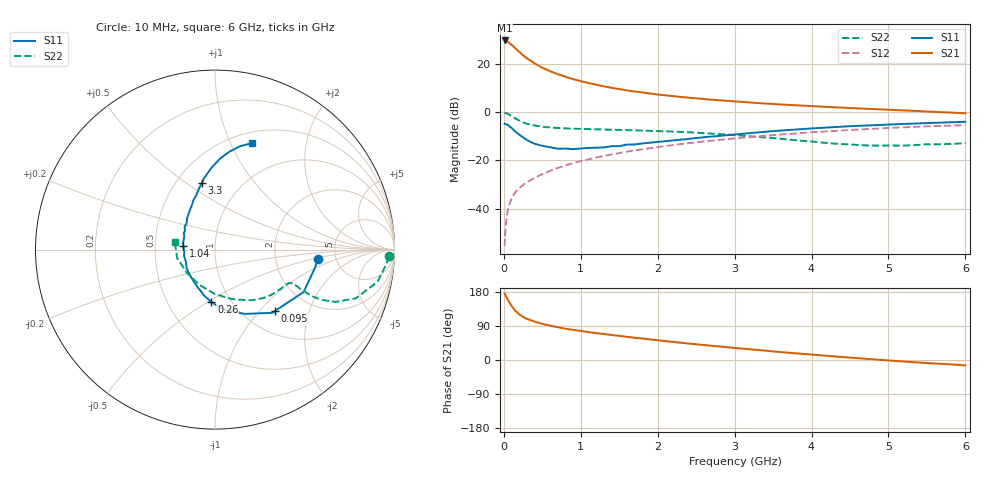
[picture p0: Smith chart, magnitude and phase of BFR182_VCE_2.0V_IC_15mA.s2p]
! Infineon Technologies  Discrete & RF Semiconductors
! BFR182
! VCE =  2.0 V,  IC =  15 mA
! Common Emitter S-Parameters:  Nov 2015
# GHz  S  MA  R  50
!  f  S11  S21  S12  S22
! GHz  MAG  ANG  MAG  ANG  MAG  ANG  MAG  ANG
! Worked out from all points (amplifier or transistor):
!   210 points, 10 MHz to 6 GHz, reference 50 ohm
!   highest |S21| = 29.5 dB at 10 MHz (marker M1)
!   |S21| within 3 dB of that: start of sweep to 141.6 MHz
!   unconditionally stable (mu >= 1): 589.4 MHz to 2.562 GHz
!   at 185 MHz: K = 0.64, MSG = 28.6 dB, |S12| = -31.9 dB
!   at 1.52 GHz: K = 1.05, MAG = 11.7 dB, |S12| = -16.8 dB
!   at 6 GHz: K = 0.90, MSG = 2.5 dB, |S12| = -5.4 dB
!   S11 on the Smith chart (normalised r, x): 10 MHz: 3.60, -0.58; 95 MHz: 1.38, -1.22; 260 MHz: 0.81, -0.52; 1.04 GHz: 0.70, +0.03; 3.3 GHz: 0.66, +0.58; 6 GHz: 0.62, +1.21
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0.01  0.575 -5.4  29.99 175.6  0.0017 91.7  0.9681 -2.2
0.02  0.5664 -10.2  29.68 171.1  0.0035 85.5  0.959 -4.7
0.05  0.5475 -25.6  28.42 159.3  0.0092 78.9  0.9235 -11.2
0.095  0.4784 -45.4  24.91 144.5  0.0156 73.5  0.8384 -18.2
0.1  0.4748 -47.9  24.64 142.6  0.0163 73.2  0.8298 -19.1
0.15  0.3934 -65.6  20.65 129.3  0.0224 68.9  0.7335 -23.4
0.2  0.3422 -79.8  17.4 120.6  0.0268 68.2  0.6633 -25.1
0.26  0.2922 -94.0  14.42 112.7  0.0321 68.1  0.6033 -25.6
0.3  0.264 -103.0  12.83 108.3  0.0355 69.0  0.5723 -25.4
0.4  0.2218 -119.3  10.08 101.3  0.0438 69.5  0.5251 -24.7
0.5  0.2006 -133.4  8.204 95.1  0.0521 70.9  0.4967 -24.0
0.7  0.1751 -157.7  6.041 86.4  0.0699 71.4  0.4669 -23.7
0.8  0.1761 -168.2  5.31 82.6  0.079 71.2  0.4587 -23.9
1.02  0.1775 174.4  4.249 76.1  0.0985 70.8  0.4467 -25.3
1.04  0.1784 173.2  4.177 75.5  0.1003 70.7  0.4456 -25.5
1.4  0.1975 151.5  3.149 66.0  0.133 69.0  0.4312 -29.3
2.02  0.2427 128.3  2.28 51.7  0.1909 64.1  0.4048 -38.1
3.1  0.3546 104.2  1.61 30.1  0.2944 53.3  0.3251 -59.8
3.3  0.3785 101.2  1.532 26.5  0.3136 51.1  0.306 -65.3
4.1  0.4684 91.0  1.298 12.5  0.3895 41.7  0.2372 -94.9
5.1  0.56 80.4  1.1 -2.6  0.4763 29.0  0.2025 -146.4
6  0.6285 70.8  0.944 -14.2  0.5359 16.5  0.2283 168.9
